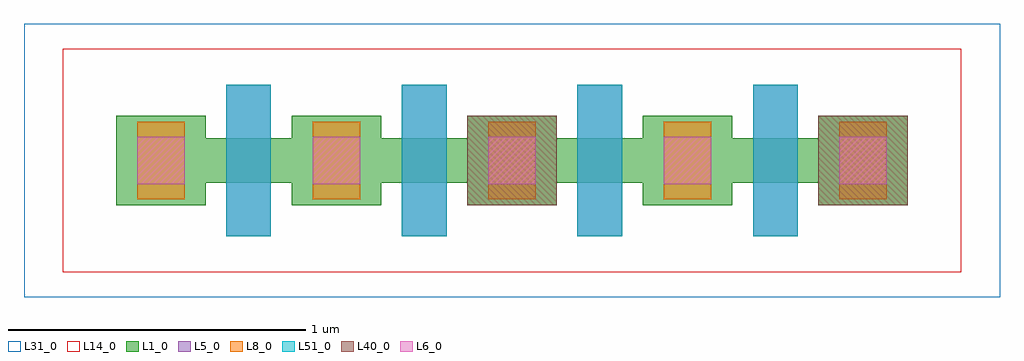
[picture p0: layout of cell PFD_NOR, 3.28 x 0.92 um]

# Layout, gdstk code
import gdstk
lib = gdstk.Library(unit=1e-6, precision=1e-09)
def R(c, l, rs):  # rectangles x0, y0, x1, y1
    for r in rs: c.add(gdstk.rectangle(r[:2], r[2:], *l))
def A(c, l, x, y, w, h, nx, ny, dx, dy):  # array of equal rectangles
    R(c, l, [(x+i*dx, y+j*dy, x+i*dx+w, y+j*dy+h) for i in range(nx) for j in range(ny)])
L1_0 = (1, 0)
L5_0 = (5, 0)
L6_0 = (6, 0)
L8_0 = (8, 0)
L14_0 = (14, 0)
L31_0 = (31, 0)
L40_0 = (40, 0)
L51_0 = (51, 0)

pmos = lib.new_cell('pmos')
A(pmos, L1_0, 0, 0, 0.3, 0.3, 3, 1, 0.59, 0)
R(pmos, L1_0, [(0,0.075,1.48,0.225)])
R(pmos, L5_0, [(0.37,-0.105,0.52,0.405), (0.37,-0.105,0.52,0.405), (0.96,-0.105,1.11,0.405)])
A(pmos, L6_0, 0.07, 0.07, 0.16, 0.16, 3, 1, 0.59, 0)
R(pmos, L8_0, [(0.07,0.02,0.23,0.28), (0.07,0.02,0.23,0.28), (0.66,0.02,0.82,0.28), (0.66,0.02,0.82,0.28), (1.25,0.02,1.41,0.28)])
R(pmos, L14_0, [(-0.18,-0.225,1.66,0.525)])
R(pmos, L31_0, [(-0.31,-0.31,1.79,0.61)])
R(pmos, L40_0, [(1.18,0,1.48,0.3)])
R(pmos, L51_0, [(0.37,-0.105,0.52,0.405), (0.96,-0.105,1.11,0.405)])
pmos.add(gdstk.Label('pmos', (0.445,0.15), layer=63, texttype=0))
pmos.add(gdstk.Label('pmos', (0.445,0.15), layer=51, texttype=0))
pmos.add(gdstk.Label('pmos', (1.035,0.15), layer=51, texttype=0))

pfd_nor = lib.new_cell('PFD_NOR')
pfd_nor.add(gdstk.Reference(pmos, (-0.48,0.31)))
pfd_nor.add(gdstk.Reference(pmos, (0.7,0.31)))

lib.write_gds('PFD_NOR.gds')
